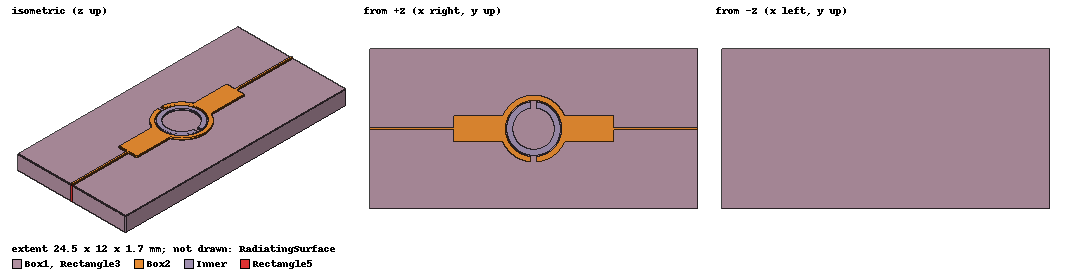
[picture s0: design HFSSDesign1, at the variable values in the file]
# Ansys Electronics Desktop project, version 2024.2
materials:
  vacuum: permittivity=1
  FR4_epoxy: permittivity=4.4 dielectric_loss_tangent=0.02
  copper: permeability=0.999991 conductivity=58000000
  air: permittivity=1.0006 permeability=1.0000004
  benzocyclobuten: permittivity=2.6

design HFSSDesign1 (HFSS, HFSS Terminal Network, model units mm)
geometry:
  Box1 [FR4_epoxy] = box(corner=(-6.25mm, 0mm, 0mm), size=(24.5mm, 12mm, 1.6mm))
  Cylinder1 = cylinder(axis=Z, base_centre=(6mm, 6mm, 1.6mm), radius=2.1mm, height=0.1mm)
  Cylinder2 = cylinder(axis=Z, base_centre=(6mm, 6mm, 1.6mm), radius=2.5mm, height=0.1mm)
  Slit = box(corner=(5.8mm, 1.5mm, 1.6mm), size=(0.4mm, 4mm, 0.1mm))
  Box2 [copper] = box(corner=(0mm, 5mm, 1.6mm), size=(12mm, 2mm, 0.1mm))
  Rectangle3 = rectangle(corner=(-6.25mm, 0mm, 0mm), x_size=24.5mm, y_size=12mm)
  Cylinder2.subtract(Cylinder1)
  Box4 = box(corner=(3.9mm, 7mm, 1.6mm), size=(4.2mm, -2mm, 0.2mm))
  Cylinder2.subtract(Slit)
  Box2.subtract(Box4)
  Inner [copper] = cylinder(axis=Z, base_centre=(6mm, 6mm, 1.6mm), radius=2mm, height=0.1mm)
  Cylinder3 = cylinder(axis=Z, base_centre=(6mm, 6mm, 1.6mm), radius=1.55mm, height=0.1mm)
  Inner.subtract(Cylinder3)
  Box5 = box(corner=(5.8mm, 8mm, 1.6mm), size=(0.4mm, -1.5mm, 0.1mm))
  Inner.subtract(Box5)
  quartwave_1 = box(corner=(0mm, 6.1mm, 1.6mm), size=(-6.25mm, -0.2mm, 0.1mm))
  quartwave_2 = box(corner=(0mm, 6.1mm, 1.6mm), size=(-6.25mm, -0.2mm, 0.1mm))
  quartwave_2.move(20.75mm, 0mm, 0mm)
  RadiatingSurface [air] = region(absolute_offset=20mm on all sides)
  quartwave_2.move(-2.5mm, 0mm, 0mm)
  Rectangle5 = rectangle(corner=(18.25mm, 5.9mm, 1.7mm), y_size=0.2mm, z_size=-1.7mm)
  Rectangle6 = rectangle(corner=(-6.25mm, 6.1mm, 1.7mm), y_size=-0.2mm, z_size=-1.7mm)
  Box2.unite(quartwave_1, quartwave_2, Cylinder2)
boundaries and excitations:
  PerfE7: Perfect E Objects=Inner
  PerfE10: Perfect E Objects=Rectangle3
  Open1: Radiation Objects=RadiatingSurface
  PerfE11: Perfect E Objects=Box2
  1: Lumped Port Objects=Rectangle5 LumpedPortType=Modal Modes{Mode1{IntLine{(18.25, 6, 0) -> (18.25, 6, 1.7)} CharImp=Zpi}} Impedance=50ohm
  2: Lumped Port Objects=Rectangle6 LumpedPortType=Modal Modes{Mode1{IntLine{(-6.25, 6, 0) -> (-6.25, 6, 1.7)} CharImp=Zpi}} Impedance=50ohm
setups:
  Setup1: HfssDriven Frequency=5GHz MaxDeltaS=0.01 MaximumPasses=10 MinimumPasses=1 MinimumConvergedPasses=1 PercentRefinement=30 BasisOrder=1 PortAccuracy=2 DrivenSolverType="Direct Solver"
    sweep Sweep: 1GHz to 10GHz, 401 points; Type=Fast SaveFields
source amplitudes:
  1:1: 1V 0deg
  2:1: 0V 0deg
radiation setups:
  3D: Infinite Sphere Theta=0deg..180deg step 2deg Phi=-180deg..180deg step 2deg
  Elevation: Infinite Sphere Theta=-180deg..180deg step 1deg Phi=0deg..90deg step 90deg
  Azimuth: Infinite Sphere Theta=90deg..90deg step 0deg Phi=-180deg..180deg step 1deg
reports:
  S Parameter Plot 1: dB(S(1,1)), dB(S(2,1)) vs Freq on Setup1 : Sweep; markers m2 at 5.005GHz, m3 at 4.96GHz, m4 at 4.8925GHz, m5 at 5.05GHz
  Z Parameter Plot 1: dB20(Z(1,1)), dB20(Z(2,1)) vs Freq on Setup1 : Sweep; markers m1 at 5.005GHz, m2 at 5.005GHz
